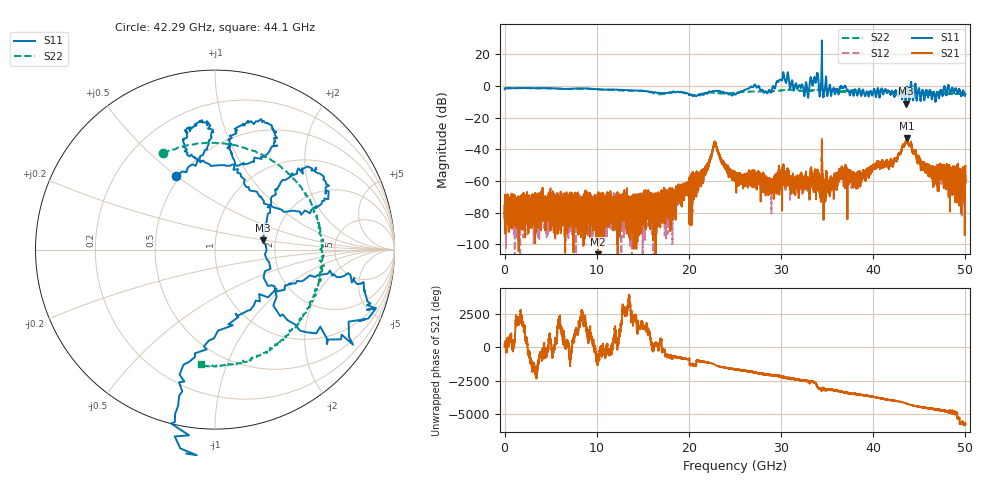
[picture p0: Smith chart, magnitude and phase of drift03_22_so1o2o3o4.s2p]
!Created with skrf (http://scikit-rf.org).
# Hz S RI R 50.0
!freq ReS11 ImS11 ReS21 ImS21 ReS12 ImS12 ReS22 ImS22
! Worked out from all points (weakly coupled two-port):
!   10000 points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, 5.3 MHz to 50 GHz, reference 50 ohm
!   highest |S21| = -33.09 dB at 43.64 GHz (marker M1); lowest = -111.0 dB at 10.15 GHz (marker M2)
!   lowest |S11| = -11.3 dB at 43.52 GHz (marker M3), VSWR 1.75, Z = 85.8 + j9.76 ohm
!   |S11| at or under -10 dB: 43.49099 GHz to 43.54221 GHz (51.22 MHz wide, 0.118 % of centre); 43.54728 GHz to 43.55552 GHz (8.231 MHz wide, 0.0189 % of centre)
!   |S22| runs from -5.9 to -1.3 dB; largest |S21 - S12| = 0.012
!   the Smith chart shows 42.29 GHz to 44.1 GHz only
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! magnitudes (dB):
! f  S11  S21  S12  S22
! 5.3 MHz  -2.1  -75.4  -78.4  -2.1
! 8.34 GHz  -1.5  -81.9  -79.6  -1.9
! 10.15 GHz  -2.2  -111.0  -72.9  -2.2
! 16.67 GHz  -4.4  -74.2  -76.9  -5.2
! 21.33 GHz  -5.3  -57.7  -54.6  -5.1
! 22.82 GHz  -3.4  -35.7  -35.5  -4.4
! 25.01 GHz  -5.5  -56.6  -58.9  -4.3
! 27.02 GHz  -0.3  -56.1  -57.3  -3.5
! 28.77 GHz  -2.7  -63.8  -64.9  -3.5
! 30.14 GHz  4.4  -56.2  -56.0  -2.8
! 32.74 GHz  2.0  -58.0  -58.9  -3.4
! 33.34 GHz  2.6  -59.1  -60.4  -2.9
! 33.82 GHz  4.0  -65.0  -59.7  -2.5
! 35.27 GHz  0.2  -66.3  -64.4  -2.7
! 36.47 GHz  -0.4  -57.8  -55.7  -3.6
! 38.52 GHz  -2.5  -56.5  -55.9  -3.1
! 41.67 GHz  -3.1  -49.7  -50.3  -3.7
! 43.52 GHz  -11.3  -35.4  -35.5  -4.2
! 43.64 GHz  -2.0  -33.1  -33.4  -4.1
! 46.23 GHz  -3.7  -53.6  -55.5  -5.5
! 49.73 GHz  -3.1  -57.6  -57.1  -5.0
! 50 GHz  -5.3  -50.6  -56.8  -5.0
